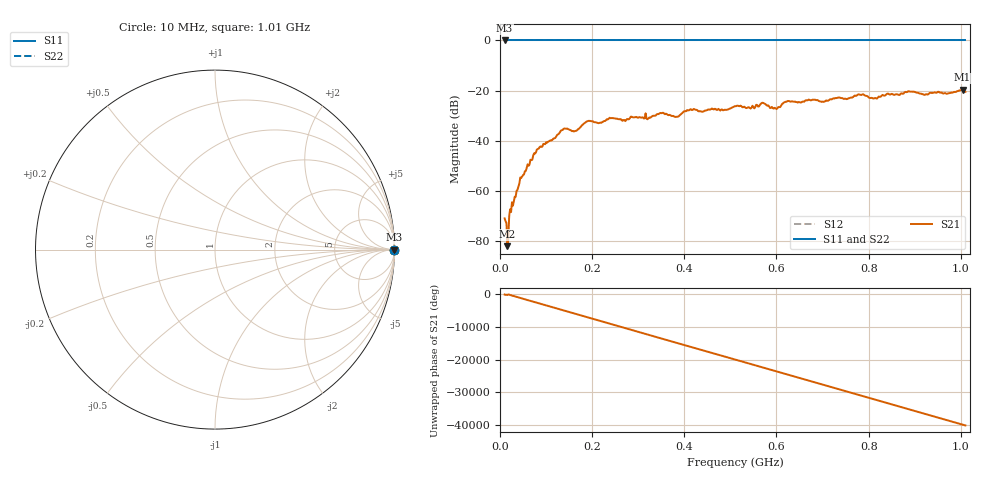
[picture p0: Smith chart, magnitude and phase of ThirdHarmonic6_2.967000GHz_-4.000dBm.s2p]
! 8/17/2025 8:23:16 AM
! C:\ANRITSUVNA\TEMP\TEMP.S2P
! CHANNEL.1
! TR.MEASUREMENT
! RAW.DATA
! RF.CORRECTION.OFF
! AVERAGING.OFF
! IF.BANDWIDTH: 5KHZ
! SWEEPTYPE:  FREQ.SWEEP(Linear)
! Reference Plane Port Info
! PORT:  PORT1  PORT2
! DISTANCE:  0  m  0  m
! TIME:  0  s  0  s
! PHASE.OFFSET:  0  deg.  0  deg.
! LOSS:  0  dB  0  dB
! REF.LOSS:  0  dB  0  dB
! REF.FREQ:  0  Hz  0  Hz
! Power Info
! POWER:  -20  dBm  -20  dBm
! EFF.POWER:  -20  dBm  -20  dBm
! SOURCE.ATTEN:  0  dB  0  dB
! TEST.ATTEN:  0  dB  0  dB
# GHZ S RI R 50.0
! FREQ.GHZ  S11RE  S11IM  S21RE  S21IM  S12RE  S12IM  S22RE  S22IM
!; PortSelection: Port_12
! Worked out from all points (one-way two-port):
!   501 points, 10 MHz to 1.01 GHz, reference 50 ohm
!   highest |S21| = -19.64 dB at 1.004 GHz (marker M1); lowest = -82.0 dB at 16 MHz (marker M2)
!   lowest |S11| = 0.0 dB at 10 MHz (marker M3)
!   |S11| at or under -10 dB: nowhere
!   |S22| runs from 0.0 to 0.0 dB; largest |S21 - S12| = 1.1
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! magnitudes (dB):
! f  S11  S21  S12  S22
! 10 MHz  0.0  -70.9  0.0  0.0
! 16 MHz  0.0  -82.0  0.0  0.0
! 20 MHz  0.0  -69.8  0.0  0.0
! 24 MHz  0.0  -68.4  0.0  0.0
! 44 MHz  0.0  -54.6  0.0  0.0
! 78 MHz  0.0  -44.6  0.0  0.0
! 136 MHz  0.0  -35.7  0.0  0.0
! 162 MHz  0.0  -36.2  0.0  0.0
! 178 MHz  0.0  -33.8  0.0  0.0
! 192 MHz  0.0  -32.0  0.0  0.0
! 322 MHz  0.0  -31.1  0.0  0.0
! 344 MHz  0.0  -29.3  0.0  0.0
! 384 MHz  0.0  -30.4  0.0  0.0
! 410 MHz  0.0  -27.9  0.0  0.0
! 510 MHz  0.0  -26.2  0.0  0.0
! 570 MHz  0.0  -24.8  0.0  0.0
! 598 MHz  0.0  -27.0  0.0  0.0
! 624 MHz  0.0  -24.1  0.0  0.0
! 678 MHz  0.0  -23.6  0.0  0.0
! 844 MHz  0.0  -21.4  0.0  0.0
! 1.004 GHz  0.0  -19.6  0.0  0.0
! 1.01 GHz  0.0  -20.5  0.0  0.0
